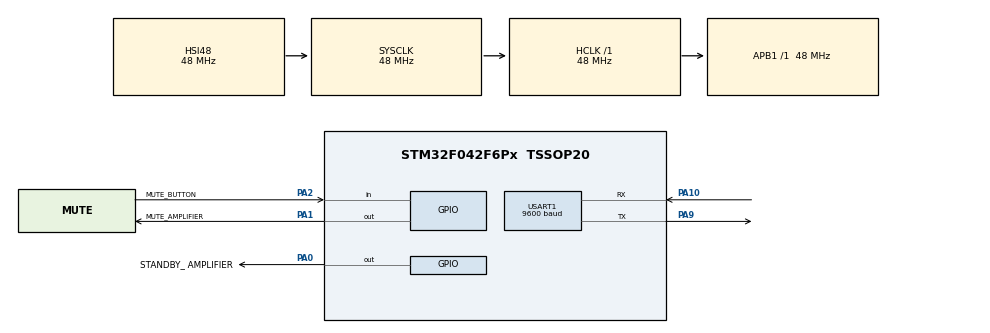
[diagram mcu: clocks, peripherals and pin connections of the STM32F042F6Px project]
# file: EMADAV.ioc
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ADC.ContinuousConvMode=ENABLE
ADC.SamplingTime=ADC_SAMPLETIME_28CYCLES_5
FREERTOS.Tasks01=defaultTask,0,128,StartDefaultTask,Default,NULL,Dynamic,NULL,NULL;AmplifierTask,0,128,StartAmplifierTask,Default,NULL,Dynamic,NULL,NULL;SerialTask,0,128,StartSerialTask,Default,NULL,Dynamic,NULL,NULL
FREERTOS.configUSE_NEWLIB_REENTRANT=1
Mcu.Family=STM32F0
Mcu.Name=STM32F042F6Px
Mcu.Package=TSSOP20
NVIC.ADC1_IRQn=true\:3\:0\:false\:false\:true\:true\:true\:true\:true
NVIC.TIM1_BRK_UP_TRG_COM_IRQn=true\:3\:0\:false\:false\:true\:false\:false\:true\:true
NVIC.TimeBase=TIM1_BRK_UP_TRG_COM_IRQn
NVIC.TimeBaseIP=TIM1
NVIC.USART1_IRQn=true\:3\:0\:false\:false\:true\:true\:true\:true\:true
PA0.GPIO_Label=STANDBY_ AMPLIFIER
PA0.GPIO_Speed=GPIO_SPEED_FREQ_LOW
PA0.Signal=GPIO_Output
PA1.GPIO_Label=MUTE_AMPLIFIER
PA1.GPIO_Speed=GPIO_SPEED_FREQ_LOW
PA1.PinState=GPIO_PIN_SET
PA1.Signal=GPIO_Output
PA10.Mode=Asynchronous
PA10.Signal=USART1_RX
PA13.Mode=Serial_Wire
PA13.Signal=SYS_SWDIO
PA14.Mode=Serial_Wire
PA14.Signal=SYS_SWCLK
PA2.GPIO_Label=MUTE_BUTTON
PA2.Signal=GPIO_Input
PA9.Mode=Asynchronous
PA9.Signal=USART1_TX
PF0-OSC_IN.Mode=HSE-External-Oscillator
PF0-OSC_IN.Signal=RCC_OSC_IN
PF1-OSC_OUT.Mode=HSE-External-Oscillator
PF1-OSC_OUT.Signal=RCC_OSC_OUT
ProjectManager.HeapSize=0x200
ProjectManager.StackSize=0x400
ProjectManager.TargetToolchain=STM32CubeIDE
RCC.AHBFreq_Value=48000000
RCC.APB1Freq_Value=48000000
RCC.APB1TimFreq_Value=48000000
RCC.HCLKFreq_Value=48000000
RCC.SYSCLKFreq_VALUE=48000000
RCC.SYSCLKSource=RCC_SYSCLKSOURCE_HSI48
USART1.BaudRate=9600
USART1.DMADisableonRxErrorParam=ADVFEATURE_DMA_DISABLEONRXERROR
USART1.OverrunDisableParam=ADVFEATURE_OVERRUN_DISABLE
USART1.SwapParam=ADVFEATURE_SWAP_DISABLE
USART1.VirtualMode=VM_ASYNC
VP_ADC_TempSens_Input.Mode=IN-TempSens
VP_ADC_Vref_Input.Mode=IN-Vrefint
VP_FREERTOS_VS_CMSIS_V1.Mode=CMSIS_V1
VP_SYS_VS_tim1.Mode=TIM1
board=custom

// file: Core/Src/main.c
/* USER CODE BEGIN Header */
/**
  ******************************************************************************
  * @file           : main.c
  * @brief          : Main program body
  ******************************************************************************
  * @attention
  *
  * Copyright (c) 2024 STMicroelectronics.
  * All rights reserved.
  *
  * This software is licensed under terms that can be found in the LICENSE file
  * in the root directory of this software component.
  * If no LICENSE file comes with this software, it is provided AS-IS.
  *
  ******************************************************************************
  */
/* USER CODE END Header */
#include "main.h"
#include "cmsis_os.h"

/* USER CODE BEGIN Includes */
#include <stdbool.h>
/* USER CODE END Includes */

/* USER CODE BEGIN PD */
#define CR_SIZE 4
#define BUFFER_SIZE 100
#define AVG_SLOPE (4.3F)
#define V_AT_25C  (1.43F)
#define VREFINT_CAL_ADDR ((uint16_t*) ((uint32_t) 0x1FFFF7BA))
#define VREFINT_CAL_VOLTAGE 3.3
/* USER CODE END PD */

ADC_HandleTypeDef hadc;

UART_HandleTypeDef huart1;

osThreadId defaultTaskHandle;
osThreadId AmplifierTaskHandle;
osThreadId SerialTaskHandle;
/* USER CODE BEGIN PV */

bool StateAmplifier = false;
bool OldStateAmplifier = false;
bool MuteButtonState = false;
uint8_t HEADER1[40] = {'\0'};
char CR[CR_SIZE];

uint8_t Rx_data[1];
uint8_t Rx_buffer[BUFFER_SIZE];
uint16_t Rx_index = 0;
uint8_t SerialCommand = 0;

DMA_HandleTypeDef hdma_adc1;
UART_HandleTypeDef huart1;
uint16_t ADC_Read_Channel = 0;
float Temperature = 0.00f;
float Vref = 0.00f;

//Variable for Vdda calculate
uint16_t vrefint_calibrate = 0;
float Vdda_Value = 0.00f;

/* USER CODE END PV */

void SystemClock_Config(void);
static void MX_GPIO_Init(void);
static void MX_USART1_UART_Init(void);
static void MX_ADC_Init(void);
void StartDefaultTask(void const * argument);
void StartAmplifierTask(void const * argument);
void StartSerialTask(void const * argument);

int main(void)
{

  /* MCU Configuration--------------------------------------------------------*/

  /* Reset of all peripherals, Initializes the Flash interface and the Systick. */
  HAL_Init();

  /* Configure the system clock */
  SystemClock_Config();

  /* Initialize all configured peripherals */
  MX_GPIO_Init();
  MX_USART1_UART_Init();
  MX_ADC_Init();
  /* USER CODE BEGIN 2 */
  sprintf(HEADER1, "Initialized USB Serial Comunication \n");
  HAL_UART_Transmit(&huart1, HEADER1, sizeof(HEADER1), 38);
  /* USER CODE END 2 */

  /* Create the thread(s) */
  /* definition and creation of defaultTask */
  osThreadDef(defaultTask, StartDefaultTask, osPriorityNormal, 0, 128);
  defaultTaskHandle = osThreadCreate(osThread(defaultTask), NULL);

  /* definition and creation of AmplifierTask */
  osThreadDef(AmplifierTask, StartAmplifierTask, osPriorityNormal, 0, 128);
  AmplifierTaskHandle = osThreadCreate(osThread(AmplifierTask), NULL);

  /* definition and creation of SerialTask */
  osThreadDef(SerialTask, StartSerialTask, osPriorityNormal, 0, 128);
  SerialTaskHandle = osThreadCreate(osThread(SerialTask), NULL);

  /* Start scheduler */
  osKernelStart();
  /* We should never get here as control is now taken by the scheduler */
  /* Infinite loop */
  while (1)
  {

  }
}

void SystemClock_Config(void)
{
  RCC_OscInitTypeDef RCC_OscInitStruct = {0};
  RCC_ClkInitTypeDef RCC_ClkInitStruct = {0};
  RCC_PeriphCLKInitTypeDef PeriphClkInit = {0};

  /** Initializes the RCC Oscillators according to the specified parameters
  * in the RCC_OscInitTypeDef structure.
  */
  RCC_OscInitStruct.OscillatorType = RCC_OSCILLATORTYPE_HSI14|RCC_OSCILLATORTYPE_HSI48;
  RCC_OscInitStruct.HSI48State = RCC_HSI48_ON;
  RCC_OscInitStruct.HSI14State = RCC_HSI14_ON;
  RCC_OscInitStruct.HSI14CalibrationValue = 16;
  RCC_OscInitStruct.PLL.PLLState = RCC_PLL_NONE;
  if (HAL_RCC_OscConfig(&RCC_OscInitStruct) != HAL_OK)
  {
    Error_Handler();
  }

  /** Initializes the CPU, AHB and APB buses clocks
  */
  RCC_ClkInitStruct.ClockType = RCC_CLOCKTYPE_HCLK|RCC_CLOCKTYPE_SYSCLK
                              |RCC_CLOCKTYPE_PCLK1;
  RCC_ClkInitStruct.SYSCLKSource = RCC_SYSCLKSOURCE_HSI48;
  RCC_ClkInitStruct.AHBCLKDivider = RCC_SYSCLK_DIV1;
  RCC_ClkInitStruct.APB1CLKDivider = RCC_HCLK_DIV1;

  if (HAL_RCC_ClockConfig(&RCC_ClkInitStruct, FLASH_LATENCY_1) != HAL_OK)
  {
    Error_Handler();
  }
  PeriphClkInit.PeriphClockSelection = RCC_PERIPHCLK_USART1;
  PeriphClkInit.Usart1ClockSelection = RCC_USART1CLKSOURCE_PCLK1;
  if (HAL_RCCEx_PeriphCLKConfig(&PeriphClkInit) != HAL_OK)
  {
    Error_Handler();
  }
}

static void MX_ADC_Init(void)
{

  ADC_ChannelConfTypeDef sConfig = {0};

  /** Configure the global features of the ADC (Clock, Resolution, Data Alignment and number of conversion)
  */
  hadc.Instance = ADC1;
  hadc.Init.ClockPrescaler = ADC_CLOCK_ASYNC_DIV1;
  hadc.Init.Resolution = ADC_RESOLUTION_12B;
  hadc.Init.DataAlign = ADC_DATAALIGN_RIGHT;
  hadc.Init.ScanConvMode = ADC_SCAN_DIRECTION_FORWARD;
  hadc.Init.EOCSelection = ADC_EOC_SINGLE_CONV;
  hadc.Init.LowPowerAutoWait = DISABLE;
  hadc.Init.LowPowerAutoPowerOff = DISABLE;
  hadc.Init.ContinuousConvMode = ENABLE;
  hadc.Init.DiscontinuousConvMode = DISABLE;
  hadc.Init.ExternalTrigConv = ADC_SOFTWARE_START;
  hadc.Init.ExternalTrigConvEdge = ADC_EXTERNALTRIGCONVEDGE_NONE;
  hadc.Init.DMAContinuousRequests = DISABLE;
  hadc.Init.Overrun = ADC_OVR_DATA_PRESERVED;
  if (HAL_ADC_Init(&hadc) != HAL_OK)
  {
    Error_Handler();
  }

  /** Configure for the selected ADC regular channel to be converted.
  */
  sConfig.Channel = ADC_CHANNEL_TEMPSENSOR;
  sConfig.Rank = ADC_RANK_CHANNEL_NUMBER;
  sConfig.SamplingTime = ADC_SAMPLETIME_28CYCLES_5;
  if (HAL_ADC_ConfigChannel(&hadc, &sConfig) != HAL_OK)
  {
    Error_Handler();
  }

  /** Configure for the selected ADC regular channel to be converted.
  */
  sConfig.Channel = ADC_CHANNEL_VREFINT;
  if (HAL_ADC_ConfigChannel(&hadc, &sConfig) != HAL_OK)
  {
    Error_Handler();
  }
  /* USER CODE BEGIN ADC_Init 2 */
  HAL_ADCEx_Calibration_Start(&hadc);
  /* USER CODE END ADC_Init 2 */

}

static void MX_USART1_UART_Init(void)
{

  huart1.Instance = USART1;
  huart1.Init.BaudRate = 9600;
  huart1.Init.WordLength = UART_WORDLENGTH_8B;
  huart1.Init.StopBits = UART_STOPBITS_1;
  huart1.Init.Parity = UART_PARITY_NONE;
  huart1.Init.Mode = UART_MODE_TX_RX;
  huart1.Init.HwFlowCtl = UART_HWCONTROL_NONE;
  huart1.Init.OverSampling = UART_OVERSAMPLING_16;
  huart1.Init.OneBitSampling = UART_ONE_BIT_SAMPLE_DISABLE;
  huart1.AdvancedInit.AdvFeatureInit = UART_ADVFEATURE_RXOVERRUNDISABLE_INIT|UART_ADVFEATURE_DMADISABLEONERROR_INIT;
  huart1.AdvancedInit.OverrunDisable = UART_ADVFEATURE_OVERRUN_DISABLE;
  huart1.AdvancedInit.DMADisableonRxError = UART_ADVFEATURE_DMA_DISABLEONRXERROR;
  if (HAL_UART_Init(&huart1) != HAL_OK)
  {
    Error_Handler();
  }

}

static void MX_GPIO_Init(void)
{
  GPIO_InitTypeDef GPIO_InitStruct = {0};

  /* GPIO Ports Clock Enable */
  __HAL_RCC_GPIOF_CLK_ENABLE();
  __HAL_RCC_GPIOA_CLK_ENABLE();

  /*Configure GPIO pin Output Level */
  HAL_GPIO_WritePin(STANDBY__AMPLIFIER_GPIO_Port, STANDBY__AMPLIFIER_Pin, GPIO_PIN_RESET);

  /*Configure GPIO pin Output Level */
  HAL_GPIO_WritePin(MUTE_AMPLIFIER_GPIO_Port, MUTE_AMPLIFIER_Pin, GPIO_PIN_SET);

  /*Configure GPIO pins : STANDBY__AMPLIFIER_Pin MUTE_AMPLIFIER_Pin */
  GPIO_InitStruct.Pin = STANDBY__AMPLIFIER_Pin|MUTE_AMPLIFIER_Pin;
  GPIO_InitStruct.Mode = GPIO_MODE_OUTPUT_PP;
  GPIO_InitStruct.Pull = GPIO_NOPULL;
  GPIO_InitStruct.Speed = GPIO_SPEED_FREQ_LOW;
  HAL_GPIO_Init(GPIOA, &GPIO_InitStruct);

  /*Configure GPIO pin : MUTE_BUTTON_Pin */
  GPIO_InitStruct.Pin = MUTE_BUTTON_Pin;
  GPIO_InitStruct.Mode = GPIO_MODE_INPUT;
  GPIO_InitStruct.Pull = GPIO_NOPULL;
  HAL_GPIO_Init(MUTE_BUTTON_GPIO_Port, &GPIO_InitStruct);

}

/* USER CODE BEGIN 4 */

void HAL_UART_RxCpltCallback(UART_HandleTypeDef *huart)
{
  HAL_UART_Receive_IT(&huart1, Rx_data, 1);
}

/* USER CODE END 4 */

void StartDefaultTask(void const * argument)
{
  /* USER CODE BEGIN 5 */
  /* Infinite loop */
  for(;;)
  {
      osDelay(500);
	  // Select Get and Calculate The Temperature
      ADC_ChannelConfTypeDef sConfig = {0};
      sConfig.Channel = ADC_CHANNEL_TEMPSENSOR;
      sConfig.SamplingTime = ADC_SAMPLETIME_28CYCLES_5;
      HAL_ADC_Start(&hadc);
	  HAL_ADC_PollForConversion(&hadc, 1000);
	  ADC_Read_Channel = HAL_ADC_GetValue(&hadc);
	  Temperature = ((3.3*ADC_Read_Channel/4095 - Vref)/AVG_SLOPE)+25;
	  HAL_ADC_Stop(&hadc);
	  osDelay(500);

	  // Select Get and Calculate The VRef
	  sConfig.Channel = ADC_CHANNEL_VREFINT;
	  sConfig.SamplingTime = ADC_SAMPLETIME_71CYCLES_5;
	  HAL_ADC_Start(&hadc);
	  vrefint_calibrate = *VREFINT_CAL_ADDR;
	  HAL_ADC_PollForConversion(&hadc, 1000);
	  ADC_Read_Channel = HAL_ADC_GetValue(&hadc);
	  Vref = (ADC_Read_Channel*((vrefint_calibrate * VREFINT_CAL_VOLTAGE)/ADC_Read_Channel))/4096;
	  //Vref = Vdda_Value/4096.00;
	  HAL_ADC_Stop(&hadc);

  }
  /* USER CODE END 5 */
}

void StartAmplifierTask(void const * argument)
{
  /* USER CODE BEGIN StartAmplifierTask */
  /* Infinite loop */
  for(;;)
  {
	osDelay(1);
	MuteButtonState = HAL_GPIO_ReadPin(MUTE_BUTTON_GPIO_Port, MUTE_BUTTON_Pin); // GET STATE MUTE BUTTON 'CURRENT STATE IS NEGETIVE'
	MuteButtonState = !MuteButtonState; 	// REVERSE NEGATIVE TO POSITIVE SIGNAL

	if ((MuteButtonState == true && StateAmplifier == false)||(SerialCommand == 1 ))	//CHECK STATUS BUTTON
	{
		StateAmplifier = true;
		HAL_GPIO_WritePin(STANDBY__AMPLIFIER_GPIO_Port, STANDBY__AMPLIFIER_Pin, GPIO_PIN_SET);
		osDelay(200);
		HAL_GPIO_WritePin(MUTE_AMPLIFIER_GPIO_Port, MUTE_AMPLIFIER_Pin, GPIO_PIN_RESET);
		MuteButtonState = false;
		SerialCommand = 0;
		osDelay(1000);
	}
	if ((MuteButtonState == true && StateAmplifier == true)||(SerialCommand == 2 ))	//CHECK STATUS BUTTON
	{
		StateAmplifier = false;
		HAL_GPIO_WritePin(MUTE_AMPLIFIER_GPIO_Port, MUTE_AMPLIFIER_Pin, GPIO_PIN_SET);
		osDelay(200);
		HAL_GPIO_WritePin(STANDBY__AMPLIFIER_GPIO_Port, STANDBY__AMPLIFIER_Pin, GPIO_PIN_RESET);
		MuteButtonState = false;
		SerialCommand = 0;
		osDelay(1000);
	}

   }

  /* USER CODE END StartAmplifierTask */
}

void StartSerialTask(void const * argument)
{
  /* USER CODE BEGIN StartSerialTask */
  /* Infinite loop */
  for(;;)
  {
	//--------------------FOR SERIAL COMUNICATION---------------------------------------------
	osDelay(1);
	//----------------------------TX COMUNICATION---------------------------------------------
	MuteButtonState = HAL_GPIO_ReadPin(MUTE_BUTTON_GPIO_Port, MUTE_BUTTON_Pin); // GET STATE MUTE BUTTON 'CURRENT STATE IS NEGETIVE'
	MuteButtonState = !MuteButtonState; 	// REVERSE NEGATIVE TO POSITIVE SIGNAL

	if ((MuteButtonState == true)||(SerialCommand != 0))
	{
		if ((StateAmplifier == true)&&(StateAmplifier != OldStateAmplifier))
		{
			  sprintf(HEADER1, "Px_AMPLIFIER ON_Sx");
			  sprintf(CR, "\r\n");
			  HAL_UART_Transmit(&huart1, HEADER1, sizeof(HEADER1), 18);
			  HAL_UART_Transmit(&huart1, (uint8_t *)CR, sizeof(CR), 0xFFFF);
			  OldStateAmplifier = StateAmplifier;
			  SerialCommand = 0;
		}
		else if ((StateAmplifier == false)&&(StateAmplifier != OldStateAmplifier))
		{
			  sprintf(HEADER1, "Px_AMPLIFIER OFF_Sx");
			  sprintf(CR, "\r\n");
			  HAL_UART_Transmit(&huart1, HEADER1, sizeof(HEADER1), 18);
			  HAL_UART_Transmit(&huart1, (uint8_t *)CR, sizeof(CR), 0xFFFF);
			  OldStateAmplifier = StateAmplifier;
			  SerialCommand = 0;
		}
	}
	//----------------------------RX COMUNICATION---------------------------------------------
	HAL_UART_Receive_IT(&huart1, Rx_data, 1);
	if (Rx_data[0] == 49) // COMMAND 1
	{
		sprintf(HEADER1, "Px_Command ON Amplifier Received_Sx");
		sprintf(CR, "\r\n");
		HAL_UART_Transmit(&huart1, HEADER1, sizeof(HEADER1), 35);
		HAL_UART_Transmit(&huart1, (uint8_t *)CR, sizeof(CR), 0xFFFF);
		SerialCommand = 1; 			//COMMAND START AMPIFIER AND SOUND
		Rx_data[0] = 0;
	}
	else if ((Rx_data[0] == 50))    // COMMAND 2
	{
		sprintf(HEADER1, "Px_Command OFF Amplifier Received_Sx");
		sprintf(CR, "\r\n");
		HAL_UART_Transmit(&huart1, HEADER1, sizeof(HEADER1), 36);
		HAL_UART_Transmit(&huart1, (uint8_t *)CR, sizeof(CR), 0xFFFF);
		SerialCommand = 2;		   //COMMAND STOP AMPIFIER AND SOUND
		Rx_data[0] = 0;
	}

  }
  /* USER CODE END StartSerialTask */
}

void HAL_TIM_PeriodElapsedCallback(TIM_HandleTypeDef *htim)
{
  if (htim->Instance == TIM1) {
    HAL_IncTick();
  }
}

void Error_Handler(void)
{
  __disable_irq();
  while (1)
  {
  }
}
